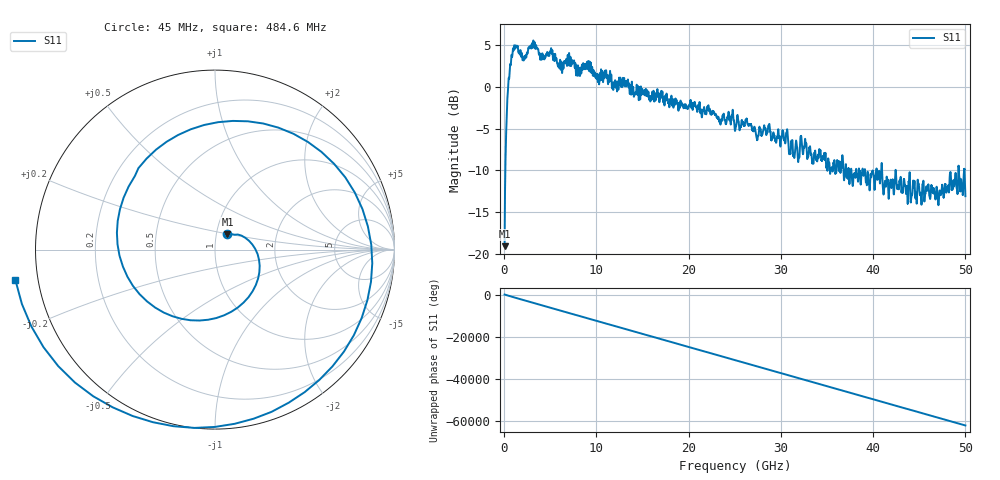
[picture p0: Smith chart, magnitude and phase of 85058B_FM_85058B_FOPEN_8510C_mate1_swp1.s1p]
!Created with skrf (http://scikit-rf.org).
# Hz S RI R 50.0
!freq ReS11 ImS11
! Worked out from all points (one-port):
!   10001 points, 45 MHz to 50 GHz, reference 50 ohm
!   lowest |S11| = -19.1 dB at 45 MHz (marker M1), VSWR 1.25, Z = 56.5 + j9.94 ohm
!   |S11| at or under -10 dB: 39.12 GHz to 40.34 GHz (1.219 GHz wide, 3.07 % of centre); 40.97 GHz to 42.43 GHz (1.459 GHz wide, 3.5 % of centre); 42.45 GHz to 49.23 GHz (6.784 GHz wide, 14.8 % of centre) (the widest 3 of 20)
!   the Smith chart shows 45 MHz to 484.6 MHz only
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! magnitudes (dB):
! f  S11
! 45 MHz  -19.1
! 319.8 MHz  -2.0
! 434.6 MHz  0.1
! 699.4 MHz  2.6
! 1.024 GHz  4.4
! 2.188 GHz  3.7
! 3.237 GHz  4.7
! 4.116 GHz  3.9
! 5.016 GHz  4.0
! 6.289 GHz  1.7
! 9.177 GHz  1.9
! 10.09 GHz  1.5
! 12.53 GHz  0.3
! 18.78 GHz  -2.0
! 25.02 GHz  -5.2
! 30.47 GHz  -6.8
! 31.27 GHz  -6.9
! 32.38 GHz  -8.0
! 33.43 GHz  -8.9
! 37.51 GHz  -10.6
! 38.94 GHz  -10.6
! 39.42 GHz  -10.3
! 40.75 GHz  -11.5
! 41.24 GHz  -11.5
! 43.76 GHz  -14.0
! 46.91 GHz  -12.2
! 49.11 GHz  -12.4
! 50 GHz  -13.1
